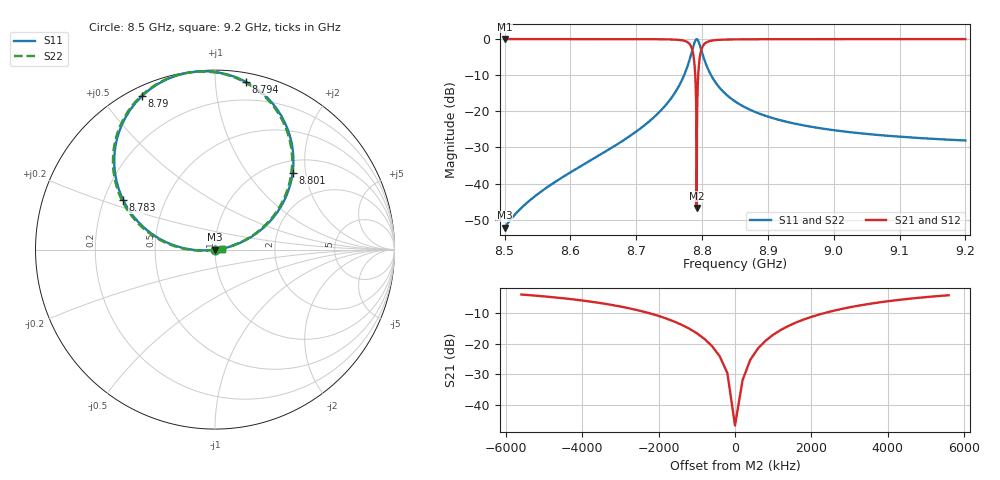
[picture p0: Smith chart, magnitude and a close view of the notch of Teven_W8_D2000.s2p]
! Sonnet Data File
! From: emgraph Version : 16.52
! From Project: transmon_brg
! Data is De-embedded
! Data File Written: 11/11/2017 22:44:25
!< HDATE 11/11/2017 16:55:33
!< MDATE 11/11/2017 17:38:18
!< PARAMS
!< Lj = 15.24
!< Gap = 6.0
!< Width = 10.0
!< Airgap = 6.0
!< Pwidth = 2000.0
!< Dist = 2000.0
!< END PARAMS
# GHZ S MA R 51.80000
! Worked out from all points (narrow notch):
!   3501 points, 8.5 GHz to 9.2 GHz, reference 51.8 ohm
!   highest |S21| = 0.00 dB at 8.5 GHz (marker M1); lowest = -46.7 dB at 8.792 GHz (marker M2)
!   notch at M2: 46.7 dB deep, 943 kHz wide at half that depth
!   lowest |S11| = -52.2 dB at 8.5 GHz (marker M3), VSWR 1.00, Z = 51.5 - j0.0273 ohm
!   |S11| at or under -10 dB: start of sweep to 8.773 GHz; 8.814 GHz to end of sweep
!   |S22| runs from -52.2 to 0.0 dB; largest |S21 - S12| = 0
!   S11 on the Smith chart (normalised r, x): 8.5 GHz: 1.00, -0.00; 8.783 GHz: 0.28, +0.23; 8.79 GHz: 0.04, +0.63; 8.794 GHz: 0.06, +1.20; 8.801 GHz: 1.26, +1.69; 9.2 GHz: 1.08, +0.01
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8.5  0.002456 -173.8  1 -79.8  1 -79.8  0.002455 -166.0
!< P1 F=8.5 Eeff=(6.44695349 -2.9785e-5) Z0=(51.7999087 1.19092e-4) R=0.0 C=0.0
!< P2 F=8.5 Eeff=(6.44695349 -2.9785e-5) Z0=(51.7999087 1.19092e-4) R=0.0 C=0.0
8.5002  0.002471 -173.8  1 -79.8  1 -79.8  0.00247 -166.0
8.5442  0.006484 -172.2  1 -80.5  1 -80.5  0.006484 -168.7
8.6168  0.01766 -172.7  0.9998 -81.8  0.9998 -81.8  0.01766 -170.9
8.6902  0.04545 -174.7  0.999 -84.1  0.999 -84.1  0.04545 -173.5
8.7334  0.09441 -177.8  0.9955 -87.3  0.9955 -87.3  0.09441 -176.8
8.7702  0.2808 171.0  0.9595 -98.5  0.9595 -98.5  0.2808 171.9
8.7776  0.4148 162.7  0.9094 -106.8  0.9094 -106.8  0.4148 163.6
8.7826  0.5811 151.6  0.8127 -117.9  0.8127 -117.9  0.5811 152.5
8.7868  0.7981 134.1  0.5997 -135.3  0.5997 -135.3  0.7981 134.9
8.7896  0.9474 115.4  0.3125 -153.7  0.3125 -153.7  0.9474 116.2
8.7918  0.9974 97.4  0.004611 -138.1  0.004611 -138.1  0.9974 98.2
8.794  0.9509 79.6  0.302 -10.5  0.302 -10.5  0.9509 80.4
8.7968  0.8101 61.4  0.5835 -28.4  0.5835 -28.4  0.8101 62.3
8.801  0.6059 44.5  0.7944 -45.2  0.7944 -45.2  0.6059 45.3
8.8066  0.4339 32.8  0.9005 -56.8  0.9005 -56.8  0.4339 33.6
8.8148  0.3026 24.6  0.9529 -65.0  0.9529 -65.0  0.3026 25.4
8.85  0.1374 14.6  0.9905 -75.1  0.9905 -75.1  0.1374 15.3
8.8976  0.08593 11.2  0.9963 -78.5  0.9963 -78.5  0.08593 11.8
8.9668  0.06092 9.2  0.9981 -80.6  0.9981 -80.6  0.06092 9.7
9.0834  0.04579 7.3  0.9989 -82.5  0.9989 -82.5  0.04579 7.7
9.2  0.03949 5.8  0.9992 -84.0  0.9992 -84.0  0.03949 6.2
